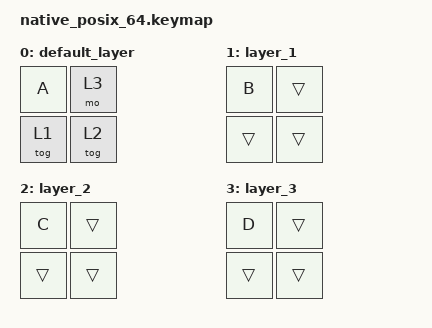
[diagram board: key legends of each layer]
#include <behaviors.dtsi>
#include <dt-bindings/zmk/keys.h>
#include <dt-bindings/zmk/input_matrix_mock.h>

/ {
    conditional_layers {
        compatible = "zmk,conditional-layers";
        tri_layer {
            if-layers = <1 2>;
            then-layer = <3>;
        };
    };

    keymap {
        compatible = "zmk,keymap";
        default_layer {
            bindings = <
                &kp A &mo 3
                &tog 1 &tog 2
            >;
        };
        layer_1 {
            bindings = <
                &kp B &trans
                &trans &trans
            >;
        };
        layer_2 {
            bindings = <
                &kp C &trans
                &trans &trans
            >;
        };
        layer_3 {
            bindings = <
                &kp D &trans
                &trans &trans
            >;
        };
    };
};

&matrix {
    events = <
        ZMK_MOCK_PRESS(0,0,10)
        ZMK_MOCK_RELEASE(0,0,10)
        ZMK_MOCK_PRESS(1,0,10)
        ZMK_MOCK_RELEASE(1,0,10)
        ZMK_MOCK_PRESS(0,0,10)
        ZMK_MOCK_RELEASE(0,0,10)
        ZMK_MOCK_PRESS(1,1,10)
        ZMK_MOCK_RELEASE(1,1,10)
        ZMK_MOCK_PRESS(0,0,10)
        ZMK_MOCK_RELEASE(0,0,10)
        ZMK_MOCK_PRESS(0,1,10)
        ZMK_MOCK_RELEASE(0,1,10)
        ZMK_MOCK_PRESS(0,0,10)
        ZMK_MOCK_RELEASE(0,0,10)
        ZMK_MOCK_PRESS(1,0,10)
        ZMK_MOCK_RELEASE(1,0,10)
        ZMK_MOCK_PRESS(0,0,10)
        ZMK_MOCK_RELEASE(0,0,10)
    >;
};
